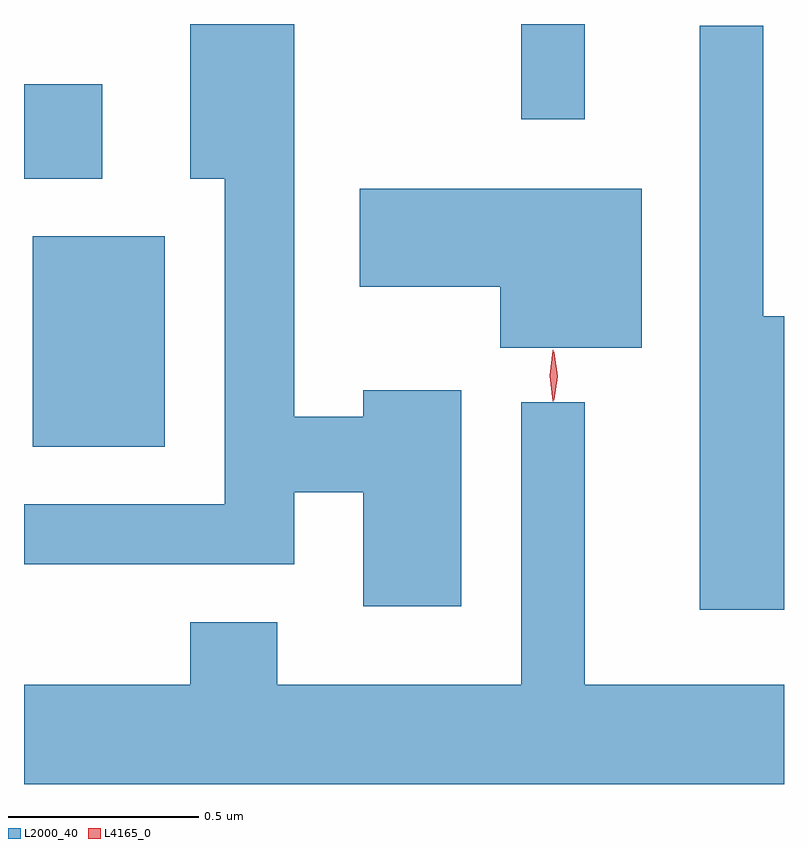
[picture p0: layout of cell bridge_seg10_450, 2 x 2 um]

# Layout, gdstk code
import gdstk
lib = gdstk.Library(unit=1e-6, precision=1e-09)
def R(c, l, rs):  # rectangles x0, y0, x1, y1
    for r in rs: c.add(gdstk.rectangle(r[:2], r[2:], *l))
def P(c, l, *ps):  # polygons
    for p in ps: c.add(gdstk.Polygon(p, *l))
L2000_40 = (2000, 40)
L4165_0 = (4165, 0)

bridge_seg10_450 = lib.new_cell('bridge_seg10_450')
R(bridge_seg10_450, L2000_40, [(1471.326,2088.171,1471.674,2088.724), (1471.303,2088.876,1471.509,2089.124), (1472.611,2089.033,1472.779,2089.283)])
P(bridge_seg10_450, L2000_40, [(1472.454,2088.319),(1472.196,2088.319),(1472.196,2088.249),(1472.014,2088.249),(1472.014,2089.283),(1471.741,2089.283),(1471.741,2088.876),(1471.831,2088.876),(1471.831,2088.019),(1471.303,2088.019),(1471.303,2087.861),(1472.014,2087.861),(1472.014,2088.051),(1472.196,2088.051),(1472.196,2087.751),(1472.454,2087.751)],
  [(1473.303,2088.514),(1473.249,2088.514),(1473.249,2089.278),(1473.081,2089.278),(1473.081,2087.741),(1473.303,2087.741)],
  [(1472.929,2088.849),(1472.186,2088.849),(1472.186,2088.591),(1472.556,2088.591),(1472.556,2088.431),(1472.929,2088.431)],
  [(1473.303,2087.544),(1472.779,2087.544),(1472.779,2088.288),(1472.611,2088.288),(1472.611,2087.544),(1471.969,2087.544),(1471.969,2087.709),(1471.741,2087.709),(1471.741,2087.544),(1471.303,2087.544),(1471.303,2087.283),(1473.303,2087.283)])
P(bridge_seg10_450, L4165_0, [(1472.695,2088.29),(1472.686,2088.358),(1472.695,2088.425),(1472.696,2088.426),(1472.696,2088.425),(1472.706,2088.358),(1472.696,2088.29),(1472.696,2088.29)],
  [(1472.698,2088.293),(1472.698,2088.294),(1472.688,2088.356),(1472.698,2088.419),(1472.698,2088.42),(1472.699,2088.419),(1472.708,2088.356),(1472.699,2088.294)])

lib.write_gds('bridge_seg10_450.gds')
